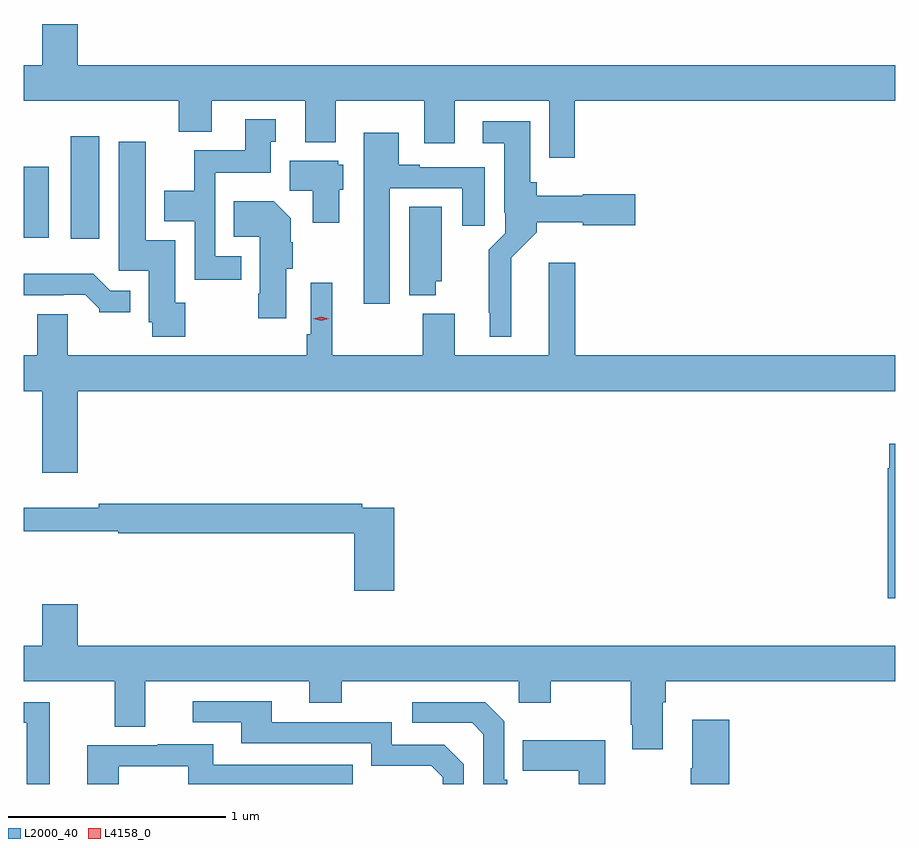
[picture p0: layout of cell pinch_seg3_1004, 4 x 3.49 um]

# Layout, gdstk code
import gdstk
lib = gdstk.Library(unit=1e-6, precision=1e-09)
def R(c, l, rs):  # rectangles x0, y0, x1, y1
    for r in rs: c.add(gdstk.rectangle(r[:2], r[2:], *l))
def P(c, l, *ps):  # polygons
    for p in ps: c.add(gdstk.Polygon(p, *l))
L2000_40 = (2000, 40)
L4158_0 = (4158, 0)

pinch_seg3_1004 = lib.new_cell('pinch_seg3_1004')
R(pinch_seg3_1004, L2000_40, [(440.864,696.288,440.995,696.757), (440.648,696.293,440.764,696.619)])
P(pinch_seg3_1004, L2000_40, [(443.177,696.92),(444.648,696.92),(444.648,697.084),(440.896,697.084),(440.896,697.273),(440.732,697.273),(440.732,697.084),(440.648,697.084),(440.648,696.92),(441.359,696.92),(441.359,696.779),(441.511,696.779),(441.511,696.92),(441.941,696.92),(441.941,696.731),(442.081,696.731),(442.081,696.92),(442.487,696.92),(442.487,696.726),(442.627,696.726),(442.627,696.92),(443.061,696.92),(443.061,696.66),(443.177,696.66)],
  [(441.646,696.207),(441.528,696.207),(441.528,696.59),(441.781,696.59),(441.781,696.732),(441.805,696.732),(441.805,696.835),(441.665,696.835),(441.665,696.694),(441.43,696.694),(441.43,696.508),(441.293,696.508),(441.293,696.368),(441.432,696.368),(441.432,696.099),(441.646,696.099)],
  [(442.885,696.2),(443.003,696.318),(443.003,696.362),(443.214,696.362),(443.214,696.35),(443.455,696.35),(443.455,696.492),(443.214,696.492),(443.214,696.484),(443.003,696.484),(443.003,696.546),(442.972,696.546),(442.972,696.826),(442.755,696.826),(442.755,696.725),(442.853,696.725),(442.853,696.406),(442.857,696.406),(442.857,696.312),(442.783,696.238),(442.783,695.947),(442.787,695.947),(442.787,695.837),(442.885,695.837)],
  [(442.327,696.519),(442.661,696.519),(442.661,696.348),(442.765,696.348),(442.765,696.615),(442.465,696.615),(442.465,696.628),(442.369,696.628),(442.369,696.775),(442.208,696.775),(442.208,695.988),(442.327,695.988)],
  [(441.39,695.994),(441.343,695.994),(441.343,696.28),(441.208,696.28),(441.208,696.733),(441.083,696.733),(441.083,696.141),(441.221,696.141),(441.221,695.904),(441.238,695.904),(441.238,695.838),(441.39,695.838)],
  [(442.096,696.513),(442.114,696.513),(442.114,696.627),(442.092,696.627),(442.092,696.646),(441.869,696.646),(441.869,696.508),(441.974,696.508),(441.974,696.36),(442.096,696.36)],
  [(441.853,696.15),(441.882,696.15),(441.882,696.272),(441.874,696.272),(441.874,696.382),(441.796,696.46),(441.613,696.46),(441.613,696.296),(441.731,696.296),(441.731,696.034),(441.724,696.034),(441.724,695.922),(441.853,695.922)],
  [(442.54,696.093),(442.567,696.093),(442.567,696.434),(442.418,696.434),(442.418,696.029),(442.54,696.029)],
  [(440.896,695.588),(444.648,695.588),(444.648,695.752),(443.18,695.752),(443.18,696.178),(443.057,696.178),(443.057,695.752),(442.627,695.752),(442.627,695.944),(442.48,695.944),(442.48,695.752),(442.063,695.752),(442.063,696.085),(441.966,696.085),(441.966,695.848),(441.946,695.848),(441.946,695.752),(440.851,695.752),(440.851,695.942),(440.711,695.942),(440.711,695.752),(440.648,695.752),(440.648,695.588),(440.732,695.588),(440.732,695.214),(440.896,695.214)],
  [(441.136,696.048),(441.045,696.048),(440.967,696.127),(440.648,696.127),(440.648,696.027),(440.831,696.027),(440.831,696.03),(440.93,696.03),(440.994,695.966),(440.994,695.951),(441.136,695.951)],
  [(444.648,695.347),(444.621,695.347),(444.621,695.234),(444.613,695.234),(444.613,694.637),(444.648,694.637)],
  [(442.349,695.052),(442.202,695.052),(442.202,695.072),(440.992,695.072),(440.992,695.053),(440.648,695.053),(440.648,694.944),(441.082,694.944),(441.082,694.936),(442.166,694.936),(442.166,694.671),(442.349,694.671)],
  [(443.581,694.16),(443.594,694.16),(443.594,694.256),(444.648,694.256),(444.648,694.42),(440.896,694.42),(440.896,694.609),(440.732,694.609),(440.732,694.42),(440.648,694.42),(440.648,694.256),(441.065,694.256),(441.065,694.048),(441.205,694.048),(441.205,694.256),(441.959,694.256),(441.959,694.157),(442.107,694.157),(442.107,694.256),(442.92,694.256),(442.92,694.157),(443.067,694.157),(443.067,694.256),(443.434,694.256),(443.434,694.057),(443.441,694.057),(443.441,693.945),(443.581,693.945)],
  [(442.668,693.876),(442.578,693.966),(442.338,693.966),(442.338,694.068),(441.787,694.068),(441.787,694.164),(441.423,694.164),(441.423,694.068),(441.647,694.068),(441.647,693.972),(442.242,693.972),(442.242,693.869),(442.519,693.869),(442.572,693.816),(442.572,693.785),(442.668,693.785)],
  [(440.767,694.161),(440.648,694.161),(440.648,694.065),(440.663,694.065),(440.663,693.785),(440.767,693.785)],
  [(442.867,693.805),(442.854,693.805),(442.854,694.074),(442.767,694.161),(442.431,694.161),(442.431,694.065),(442.707,694.065),(442.758,694.014),(442.758,693.785),(442.867,693.785)],
  [(443.885,694.081),(443.717,694.081),(443.717,693.857),(443.71,693.857),(443.71,693.785),(443.885,693.785)],
  [(443.317,693.985),(442.939,693.985),(442.939,693.845),(443.196,693.845),(443.196,693.785),(443.317,693.785)],
  [(441.084,693.867),(441.402,693.867),(441.402,693.785),(442.157,693.785),(442.157,693.873),(441.517,693.873),(441.517,693.967),(441.263,693.967),(441.263,693.963),(440.939,693.963),(440.939,693.785),(441.084,693.785)])
P(pinch_seg3_1004, L4158_0, [(442.013,695.91),(441.977,695.92),(441.977,695.92),(441.977,695.921),(442.013,695.93),(442.049,695.921),(442.049,695.92),(442.049,695.92)])

lib.write_gds('pinch_seg3_1004.gds')
